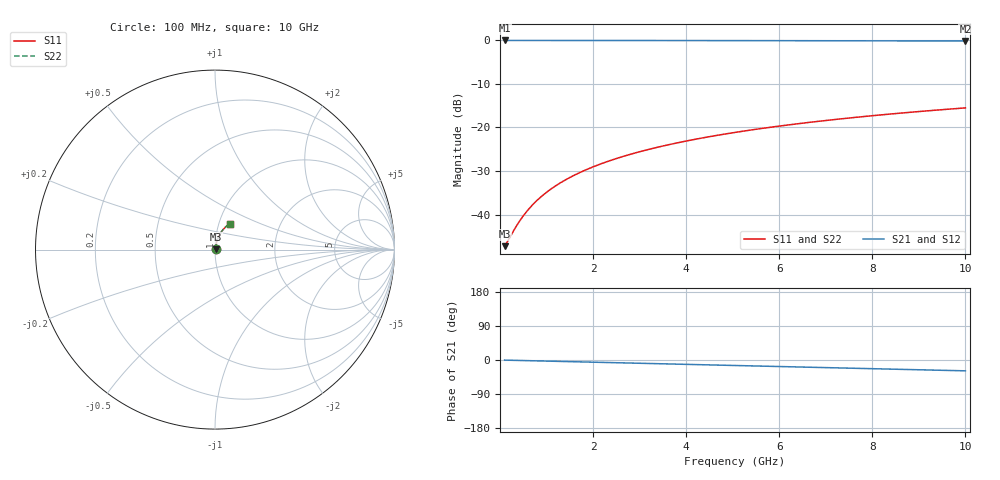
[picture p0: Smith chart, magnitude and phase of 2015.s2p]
# Hz S RI R 50.00
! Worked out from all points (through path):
!   100 points, 100 MHz to 10 GHz, reference 50 ohm
!   highest |S21| = -0.03 dB at 100 MHz (marker M1); lowest = -0.2 dB at 10 GHz (marker M2)
!   group delay of S21, straight-line fit = 7.95 ps
!   lowest |S11| = -47.2 dB at 100 MHz (marker M3), VSWR 1.01, Z = 50.4 + j0.175 ohm
!   |S11| at or under -10 dB: start of sweep to end of sweep
!   |S22| runs from -47.2 to -15.5 dB; largest |S21 - S12| = 0
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1e8  0.00399 0.00174  0.996 -0.00499  0.996 -0.00499  0.00399 0.00174
2e8  0.00404 0.00347  0.9959 -0.00998  0.9959 -0.00998  0.00404 0.00347
3e8  0.0041 0.00521  0.9958 -0.015  0.9958 -0.015  0.0041 0.00521
4e8  0.00417 0.00695  0.9957 -0.02  0.9957 -0.02  0.00417 0.00695
5e8  0.00426 0.00868  0.9956 -0.025  0.9956 -0.025  0.00426 0.00868
6e8  0.00437 0.0104  0.9954 -0.0299  0.9954 -0.0299  0.00437 0.0104
7e8  0.00449 0.0121  0.9952 -0.0349  0.9952 -0.0349  0.00449 0.0121
8e8  0.00463 0.0139  0.995 -0.0399  0.995 -0.0399  0.00463 0.0139
1e9  0.00496 0.0173  0.9945 -0.0499  0.9945 -0.0499  0.00496 0.0173
1.2e9  0.00536 0.0208  0.9938 -0.0599  0.9938 -0.0599  0.00536 0.0208
1.5e9  0.00608 0.0259  0.9927 -0.0748  0.9927 -0.0748  0.00608 0.0259
1.8e9  0.00695 0.0311  0.9913 -0.0897  0.9913 -0.0897  0.00695 0.0311
2.1e9  0.00798 0.0362  0.9896 -0.1046  0.9896 -0.1046  0.00798 0.0362
2.5e9  0.00958 0.0429  0.987 -0.1243  0.987 -0.1243  0.00958 0.0429
2.9e9  0.0115 0.0496  0.984 -0.144  0.984 -0.144  0.0115 0.0496
3.4e9  0.0142 0.0578  0.9796 -0.1686  0.9796 -0.1686  0.0142 0.0578
4.2e9  0.0194 0.0707  0.9711 -0.2074  0.9711 -0.2074  0.0194 0.0707
5.1e9  0.0264 0.0845  0.9595 -0.2506  0.9595 -0.2506  0.0264 0.0845
5.9e9  0.0337 0.0963  0.9475 -0.2884  0.9475 -0.2884  0.0337 0.0963
6.7e9  0.0418 0.1074  0.9338 -0.3255  0.9338 -0.3255  0.0418 0.1074
8.4e9  0.062 0.1286  0.8997 -0.4018  0.8997 -0.4018  0.062 0.1286
1e10  0.0838 0.1452  0.8616 -0.4699  0.8616 -0.4699  0.0838 0.1452
